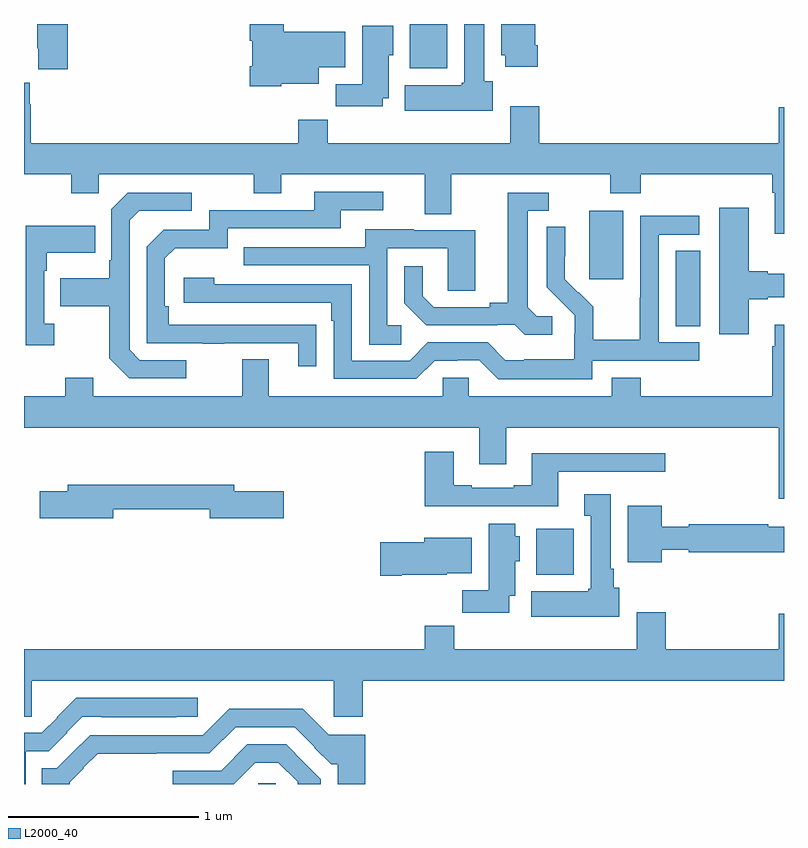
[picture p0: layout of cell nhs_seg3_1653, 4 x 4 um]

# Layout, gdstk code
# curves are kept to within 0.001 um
import gdstk
lib = gdstk.Library(unit=1e-6, precision=1e-09)
def R(c, l, rs):  # rectangles x0, y0, x1, y1
    for r in rs: c.add(gdstk.rectangle(r[:2], r[2:], *l))
def P(c, l, *ps):  # polygons
    for p in ps: c.add(gdstk.Polygon(p, *l))
L2000_40 = (2000, 40)

nhs_seg3_1653 = lib.new_cell('nhs_seg3_1653')
R(nhs_seg3_1653, L2000_40, [(198.232,672.4,198.326,672.403), (199.697,673.502,199.894,673.744), (200.429,674.809,200.56,675.206), (199.976,675.057,200.155,675.418), (199.031,676.166,199.228,676.4)])
P(nhs_seg3_1653, L2000_40, [(197.231,676.4),(197.071,676.4),(197.071,676.273),(197.075,676.273),(197.075,676.161),(197.231,676.161)],
  [(199.703,676.288),(199.69,676.288),(199.69,676.4),(199.511,676.4),(199.511,676.236),(199.532,676.236),(199.532,676.176),(199.703,676.176)],
  [(199.468,676.098),(199.423,676.098),(199.423,676.4),(199.316,676.4),(199.316,676.092),(199.303,676.092),(199.303,676.078),(199.004,676.078),(199.004,675.944),(199.468,675.944)],
  [(198.354,676.085),(198.55,676.085),(198.55,676.172),(198.691,676.172),(198.691,676.36),(198.366,676.36),(198.366,676.4),(198.188,676.4),(198.188,676.313),(198.2,676.313),(198.2,676.177),(198.188,676.177),(198.188,676.073),(198.354,676.073)],
  [(198.889,676.01),(198.919,676.01),(198.919,676.236),(198.943,676.236),(198.943,676.39),(198.779,676.39),(198.779,676.084),(198.64,676.084),(198.64,675.966),(198.889,675.966)],
  [(197.036,675.977),(197.029,675.977),(197.029,676.09),(197,676.09),(197,675.608),(197.248,675.608),(197.248,675.509),(197.394,675.509),(197.394,675.608),(198.208,675.608),(198.208,675.509),(198.355,675.509),(198.355,675.608),(199.109,675.608),(199.109,675.4),(199.249,675.4),(199.249,675.608),(200.086,675.608),(200.086,675.509),(200.246,675.509),(200.246,675.608),(200.939,675.608),(200.939,675.512),(200.951,675.512),(200.951,675.297),(201,675.297),(201,675.961),(200.972,675.961),(200.972,675.772),(199.712,675.772),(199.712,675.967),(199.559,675.967),(199.559,675.772),(198.599,675.772),(198.599,675.896),(198.443,675.896),(198.443,675.772),(197.036,675.772)],
  [(198.539,674.816),(197.762,674.817),(197.762,674.914),(197.742,674.914),(197.742,675.168),(197.795,675.221),(198.072,675.221),(198.072,675.324),(198.667,675.324),(198.667,675.42),(198.892,675.42),(198.892,675.516),(198.527,675.516),(198.527,675.42),(197.976,675.42),(197.976,675.318),(197.736,675.318),(197.646,675.228),(197.646,674.721),(197.941,674.721),(197.941,674.716),(198.053,674.716),(198.053,674.721),(198.443,674.721),(198.443,674.598),(198.539,674.598)],
  [(199.78,674.862),(199.698,674.862),(199.651,674.909),(199.651,675.417),(199.762,675.417),(199.762,675.513),(199.547,675.513),(199.547,674.933),(199.451,674.933),(199.451,674.91),(199.156,674.91),(199.099,674.967),(199.099,675.124),(199.002,675.124),(199.002,674.93),(199.118,674.814),(199.49,674.814),(199.49,674.817),(199.584,674.817),(199.636,674.765),(199.78,674.765)],
  [(197.854,674.631),(197.61,674.631),(197.556,674.685),(197.556,675.366),(197.607,675.417),(197.884,675.417),(197.884,675.513),(197.547,675.513),(197.46,675.426),(197.46,675.157),(197.448,675.157),(197.448,675.061),(197.191,675.061),(197.191,674.914),(197.448,674.914),(197.448,674.641),(197.553,674.535),(197.854,674.535)],
  [(200.815,674.951),(200.915,674.951),(200.915,674.963),(201,674.963),(201,675.085),(200.915,675.085),(200.915,675.098),(200.815,675.098),(200.815,675.433),(200.66,675.433),(200.66,674.766),(200.815,674.766)],
  [(199.992,674.628),(200.554,674.628),(200.554,674.724),(200.34,674.724),(200.34,675.291),(200.554,675.291),(200.554,675.39),(200.244,675.39),(200.244,674.96),(200.242,674.96),(200.242,674.737),(199.997,674.737),(199.997,674.911),(199.92,674.988),(199.917,674.985),(199.847,675.056),(199.848,675.332),(199.752,675.332),(199.752,675.014),(199.898,674.866),(199.898,674.769),(199.896,674.769),(199.896,674.635),(199.633,674.635),(199.633,674.631),(199.533,674.631),(199.44,674.724),(199.125,674.724),(199.029,674.628),(198.726,674.628),(198.726,675.03),(198.002,675.03),(198.002,675.064),(197.841,675.064),(197.841,674.934),(198.617,674.934),(198.617,674.837),(198.63,674.837),(198.63,674.532),(199.065,674.532),(199.161,674.628),(199.28,674.628),(199.28,674.631),(199.395,674.631),(199.495,674.531),(199.992,674.531)],
  [(197.158,674.822),(197.106,674.822),(197.106,675.101),(197.119,675.101),(197.119,675.197),(197.375,675.197),(197.375,675.337),(197.01,675.337),(197.01,674.709),(197.158,674.709)],
  [(198.985,674.814),(198.912,674.814),(198.912,675.219),(199.23,675.219),(199.23,674.995),(199.375,674.995),(199.375,675.315),(199.051,675.315),(199.051,675.319),(198.797,675.319),(198.797,675.225),(198.157,675.225),(198.157,675.129),(198.816,675.129),(198.816,674.713),(198.985,674.713)],
  [(201,674.818),(200.951,674.818),(200.951,674.705),(200.939,674.705),(200.939,674.44),(200.246,674.44),(200.246,674.539),(200.093,674.539),(200.093,674.44),(199.341,674.44),(199.341,674.538),(199.203,674.538),(199.203,674.44),(198.289,674.44),(198.289,674.635),(198.149,674.635),(198.149,674.44),(197.365,674.44),(197.365,674.539),(197.218,674.539),(197.218,674.44),(197,674.44),(197,674.276),(199.397,674.276),(199.397,674.082),(199.537,674.082),(199.537,674.276),(200.972,674.276),(200.972,673.902),(201,673.902)],
  [(199.353,673.863),(199.813,673.863),(199.813,674.043),(200.374,674.043),(200.374,674.14),(199.673,674.14),(199.673,673.972),(199.577,673.972),(199.577,673.959),(199.357,673.959),(199.357,673.972),(199.261,673.972),(199.261,674.149),(199.109,674.149),(199.109,673.862),(199.353,673.862)],
  [(197.47,673.846),(197.978,673.846),(197.978,673.799),(198.367,673.799),(198.367,673.941),(198.106,673.941),(198.106,673.975),(197.231,673.975),(197.231,673.941),(197.082,673.941),(197.082,673.799),(197.47,673.799)],
  [(200.134,673.434),(200.104,673.434),(200.104,673.534),(200.089,673.534),(200.089,673.924),(199.949,673.924),(199.949,673.811),(199.982,673.811),(199.982,673.428),(199.969,673.428),(199.969,673.414),(199.67,673.414),(199.67,673.28),(200.134,673.28)],
  [(200.356,673.632),(200.499,673.632),(200.499,673.619),(201,673.619),(201,673.753),(200.918,673.753),(200.918,673.766),(200.499,673.766),(200.499,673.753),(200.356,673.753),(200.356,673.864),(200.177,673.864),(200.177,673.568),(200.356,673.568)],
  [(199.555,673.391),(199.585,673.391),(199.585,673.572),(199.609,673.572),(199.609,673.704),(199.585,673.704),(199.585,673.771),(199.445,673.771),(199.445,673.42),(199.306,673.42),(199.306,673.302),(199.555,673.302)],
  [(198.988,673.502),(199.224,673.502),(199.224,673.508),(199.357,673.508),(199.357,673.696),(199.106,673.696),(199.106,673.673),(198.876,673.673),(198.876,673.495),(198.988,673.495)],
  [(198.782,672.944),(201,672.944),(201,673.297),(200.972,673.297),(200.972,673.108),(200.378,673.108),(200.378,673.303),(200.225,673.303),(200.225,673.108),(199.265,673.108),(199.265,673.232),(199.109,673.232),(199.109,673.108),(197,673.108),(197,672.754),(197.04,672.754),(197.04,672.944),(198.631,672.944),(198.631,672.753),(198.782,672.753)],
  [(197.008,672.573),(197.131,672.573),(197.228,672.67),(197.226,672.672),(197.307,672.753),(197.914,672.753),(197.914,672.853),(197.274,672.853),(197.173,672.752),(197.175,672.75),(197.094,672.669),(197,672.669),(197,672.4),(197.008,672.4)],
  [(197.242,672.409),(197.315,672.482),(197.312,672.485),(197.387,672.56),(197.976,672.561),(198.114,672.699),(198.426,672.699),(198.531,672.594),(198.528,672.591),(198.616,672.504),(198.65,672.504),(198.65,672.4),(198.797,672.4),(198.797,672.66),(198.603,672.66),(198.467,672.796),(198.079,672.796),(197.94,672.657),(197.348,672.657),(197.173,672.484),(197.093,672.484),(197.093,672.4),(197.242,672.4)],
  [(198.216,672.513),(198.339,672.513),(198.441,672.412),(198.441,672.4),(198.562,672.4),(198.562,672.425),(198.379,672.609),(198.176,672.609),(198.038,672.471),(197.784,672.471),(197.784,672.4),(198.103,672.4)])

lib.write_gds('nhs_seg3_1653.gds')
